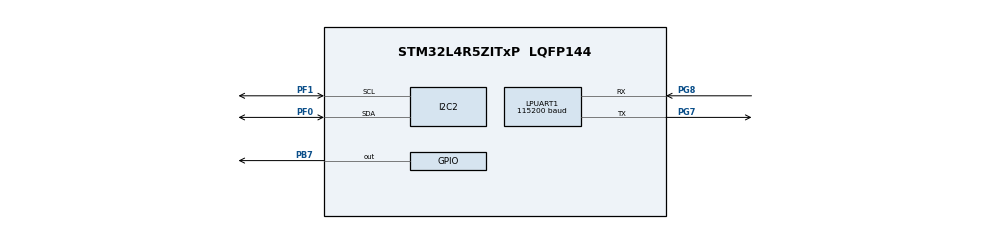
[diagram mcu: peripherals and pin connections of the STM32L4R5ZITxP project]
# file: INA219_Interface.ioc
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LPUART1.BaudRate=115200
LPUART1.WordLength=UART_WORDLENGTH_8B
Mcu.Family=STM32L4
Mcu.Name=STM32L4R5ZITxP
Mcu.Package=LQFP144
NVIC.PriorityGroup=NVIC_PRIORITYGROUP_4
PA13\ (JTMS/SWDIO).Mode=Serial_Wire
PA13\ (JTMS/SWDIO).Signal=SYS_JTMS-SWDIO
PA14\ (JTCK/SWCLK).Mode=Serial_Wire
PA14\ (JTCK/SWCLK).Signal=SYS_JTCK-SWCLK
PB7.Signal=GPIO_Output
PF0.Mode=I2C
PF0.Signal=I2C2_SDA
PF1.Mode=I2C
PF1.Signal=I2C2_SCL
PG7.Mode=Asynchronous
PG7.Signal=LPUART1_TX
PG8.Mode=Asynchronous
PG8.Signal=LPUART1_RX
ProjectManager.HeapSize=0x200
ProjectManager.StackSize=0x400
ProjectManager.TargetToolchain=STM32CubeIDE
RCC.HSE_VALUE=8000000
RCC.HSI48_VALUE=48000000
RCC.HSI_VALUE=16000000
RCC.LSE_VALUE=32768
RCC.MSI_VALUE=4000000
RCC.VCOOutputFreq_Value=32000000
board=NUCLEO-L4R5ZI-P

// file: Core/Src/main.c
/* USER CODE BEGIN Header */
/**
  ******************************************************************************
  * @file           : main.c
  * @brief          : Main program body
  ******************************************************************************
  * @attention
  *
  * Copyright (c) 2022 STMicroelectronics.
  * All rights reserved.
  *
  * This software is licensed under terms that can be found in the LICENSE file
  * in the root directory of this software component.
  * If no LICENSE file comes with this software, it is provided AS-IS.
  *
  ******************************************************************************
  */
/* USER CODE END Header */
#include "main.h"

/* USER CODE BEGIN Includes */
#include <stdio.h>
#include "string.h"
#include <stdint.h>
#include <stdarg.h>
#include "HAL_INA219.h"
/* USER CODE END Includes */

/* USER CODE BEGIN PTD */
typedef enum
{
	PASS,
	FAIL
}UT_Result_t;
/* USER CODE END PTD */

 I2C_HandleTypeDef hi2c2;

UART_HandleTypeDef hlpuart1;

void SystemClock_Config(void);
static void MX_GPIO_Init(void);
static void MX_I2C2_Init(void);
static void MX_LPUART1_UART_Init(void);
/* USER CODE BEGIN PFP */
void printmsg(char *format,...);

/*
 * Unit Test 001: Test the connection between Microcontroller and sensor
 *
 * PASS - Peripherals initalises, recieves acknowledgement
 *
 * FAIL - Device does not acknoweledge the I2C request and does
 * 		  not retrn the correct vale
 */
UT_Result_t AT001_TestConnection(char* fail_cond);
/* USER CODE END PFP */

/* USER CODE BEGIN 0 */
UT_Result_t AT001_TestConnection(char* fail_cond)
{
	  INA_Status_t status = INA219_Init_Sensor();
	  switch (status)
	{
		case INA_OK:
			memcpy(fail_cond,(char*)"None",5);
			return PASS;
		case INA_I2C_WRITE_ERROR:
			memcpy(fail_cond,(char*)"I2C Write Fail",strlen("I2C Write Fail"));
			return FAIL;
		case INA_I2C_READ_ERROR:
			memcpy(fail_cond,(char*)"I2C Read Fail",strlen("I2C Read Fail"));
			return FAIL;
		case INA_DEVICE_OFFLINE:
			memcpy(fail_cond,(char*)"Device Offline!",strlen("Device Offline!"));
			return FAIL;
	}
	  return FAIL;
}
/* USER CODE END 0 */

int main(void)
{

  /* MCU Configuration--------------------------------------------------------*/

  /* Reset of all peripherals, Initializes the Flash interface and the Systick. */
  HAL_Init();

  /* Configure the system clock */
  SystemClock_Config();

  /* Initialize all configured peripherals */
  MX_GPIO_Init();
  MX_I2C2_Init();
  MX_LPUART1_UART_Init();
  /* USER CODE BEGIN 2 */
  printmsg("INA219 test stated! \r\n");

   char x[100] = {0};
   UT_Result_t result = AT001_TestConnection(x);
   if (result == PASS)
   {
 	  printmsg("AT001: Pass \t TEST STATUS %s\r\n",(char*)x);

   }else
   {
 	  printmsg("AT001: Fail \t TEST STATUS %s\r\n",(char*)x);
   }
  /* USER CODE END 2 */

  /* Infinite loop */
   while (1)
   {

   }
}

void SystemClock_Config(void)
{
  RCC_OscInitTypeDef RCC_OscInitStruct = {0};
  RCC_ClkInitTypeDef RCC_ClkInitStruct = {0};

  /** Configure the main internal regulator output voltage
  */
  if (HAL_PWREx_ControlVoltageScaling(PWR_REGULATOR_VOLTAGE_SCALE1) != HAL_OK)
  {
    Error_Handler();
  }

  /** Initializes the RCC Oscillators according to the specified parameters
  * in the RCC_OscInitTypeDef structure.
  */
  RCC_OscInitStruct.OscillatorType = RCC_OSCILLATORTYPE_MSI;
  RCC_OscInitStruct.MSIState = RCC_MSI_ON;
  RCC_OscInitStruct.MSICalibrationValue = 0;
  RCC_OscInitStruct.MSIClockRange = RCC_MSIRANGE_6;
  RCC_OscInitStruct.PLL.PLLState = RCC_PLL_NONE;
  if (HAL_RCC_OscConfig(&RCC_OscInitStruct) != HAL_OK)
  {
    Error_Handler();
  }

  /** Initializes the CPU, AHB and APB buses clocks
  */
  RCC_ClkInitStruct.ClockType = RCC_CLOCKTYPE_HCLK|RCC_CLOCKTYPE_SYSCLK
                              |RCC_CLOCKTYPE_PCLK1|RCC_CLOCKTYPE_PCLK2;
  RCC_ClkInitStruct.SYSCLKSource = RCC_SYSCLKSOURCE_MSI;
  RCC_ClkInitStruct.AHBCLKDivider = RCC_SYSCLK_DIV1;
  RCC_ClkInitStruct.APB1CLKDivider = RCC_HCLK_DIV1;
  RCC_ClkInitStruct.APB2CLKDivider = RCC_HCLK_DIV1;

  if (HAL_RCC_ClockConfig(&RCC_ClkInitStruct, FLASH_LATENCY_0) != HAL_OK)
  {
    Error_Handler();
  }
}

static void MX_I2C2_Init(void)
{

  hi2c2.Instance = I2C2;
  hi2c2.Init.Timing = 0x00000E14;
  hi2c2.Init.OwnAddress1 = 0;
  hi2c2.Init.AddressingMode = I2C_ADDRESSINGMODE_7BIT;
  hi2c2.Init.DualAddressMode = I2C_DUALADDRESS_DISABLE;
  hi2c2.Init.OwnAddress2 = 0;
  hi2c2.Init.OwnAddress2Masks = I2C_OA2_NOMASK;
  hi2c2.Init.GeneralCallMode = I2C_GENERALCALL_DISABLE;
  hi2c2.Init.NoStretchMode = I2C_NOSTRETCH_DISABLE;
  if (HAL_I2C_Init(&hi2c2) != HAL_OK)
  {
    Error_Handler();
  }

  /** Configure Analogue filter
  */
  if (HAL_I2CEx_ConfigAnalogFilter(&hi2c2, I2C_ANALOGFILTER_ENABLE) != HAL_OK)
  {
    Error_Handler();
  }

  /** Configure Digital filter
  */
  if (HAL_I2CEx_ConfigDigitalFilter(&hi2c2, 0) != HAL_OK)
  {
    Error_Handler();
  }

}

static void MX_LPUART1_UART_Init(void)
{

  hlpuart1.Instance = LPUART1;
  hlpuart1.Init.BaudRate = 115200;
  hlpuart1.Init.WordLength = UART_WORDLENGTH_8B;
  hlpuart1.Init.StopBits = UART_STOPBITS_1;
  hlpuart1.Init.Parity = UART_PARITY_NONE;
  hlpuart1.Init.Mode = UART_MODE_TX_RX;
  hlpuart1.Init.HwFlowCtl = UART_HWCONTROL_NONE;
  hlpuart1.Init.OneBitSampling = UART_ONE_BIT_SAMPLE_DISABLE;
  hlpuart1.Init.ClockPrescaler = UART_PRESCALER_DIV1;
  hlpuart1.AdvancedInit.AdvFeatureInit = UART_ADVFEATURE_NO_INIT;
  hlpuart1.FifoMode = UART_FIFOMODE_DISABLE;
  if (HAL_UART_Init(&hlpuart1) != HAL_OK)
  {
    Error_Handler();
  }
  if (HAL_UARTEx_SetTxFifoThreshold(&hlpuart1, UART_TXFIFO_THRESHOLD_1_8) != HAL_OK)
  {
    Error_Handler();
  }
  if (HAL_UARTEx_SetRxFifoThreshold(&hlpuart1, UART_RXFIFO_THRESHOLD_1_8) != HAL_OK)
  {
    Error_Handler();
  }
  if (HAL_UARTEx_DisableFifoMode(&hlpuart1) != HAL_OK)
  {
    Error_Handler();
  }

}

static void MX_GPIO_Init(void)
{
  GPIO_InitTypeDef GPIO_InitStruct = {0};

  /* GPIO Ports Clock Enable */
  __HAL_RCC_GPIOF_CLK_ENABLE();
  __HAL_RCC_GPIOG_CLK_ENABLE();
  HAL_PWREx_EnableVddIO2();
  __HAL_RCC_GPIOA_CLK_ENABLE();
  __HAL_RCC_GPIOB_CLK_ENABLE();

  /*Configure GPIO pin Output Level */
  HAL_GPIO_WritePin(GPIOB, GPIO_PIN_7, GPIO_PIN_RESET);

  /*Configure GPIO pin : PB7 */
  GPIO_InitStruct.Pin = GPIO_PIN_7;
  GPIO_InitStruct.Mode = GPIO_MODE_OUTPUT_PP;
  GPIO_InitStruct.Pull = GPIO_NOPULL;
  GPIO_InitStruct.Speed = GPIO_SPEED_FREQ_LOW;
  HAL_GPIO_Init(GPIOB, &GPIO_InitStruct);

}

/* USER CODE BEGIN 4 */
void printmsg(char *format,...) {
    char str[30];

    /*Extract the the argument list using VA apis */
    va_list args;
    va_start(args, format);
    vsprintf(str, format,args);
    HAL_UART_Transmit(&hlpuart1,(uint8_t *)str, strlen(str),HAL_MAX_DELAY);
    va_end(args);
}
/* USER CODE END 4 */

void Error_Handler(void)
{
  __disable_irq();
  while (1)
  {
  }
}
